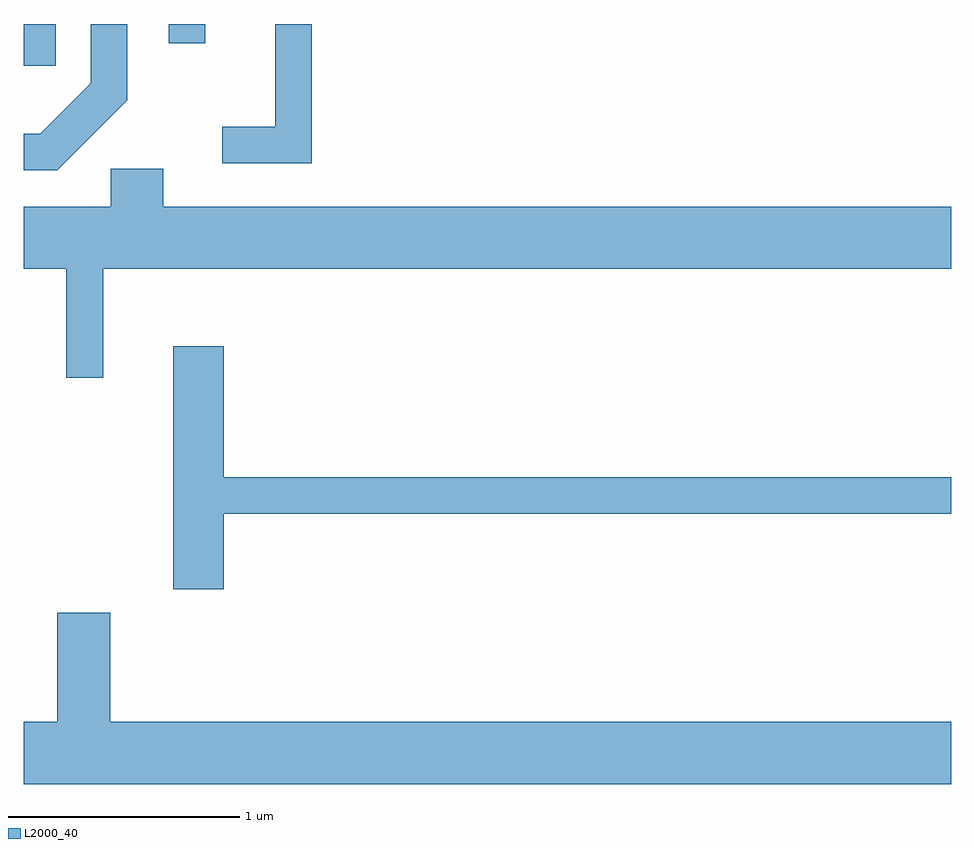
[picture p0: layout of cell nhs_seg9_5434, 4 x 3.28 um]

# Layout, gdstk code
import gdstk
lib = gdstk.Library(unit=1e-6, precision=1e-09)
def R(c, l, rs):  # rectangles x0, y0, x1, y1
    for r in rs: c.add(gdstk.rectangle(r[:2], r[2:], *l))
def P(c, l, *ps):  # polygons
    for p in ps: c.add(gdstk.Polygon(p, *l))
L2000_40 = (2000, 40)

nhs_seg9_5434 = lib.new_cell('nhs_seg9_5434')
R(nhs_seg9_5434, L2000_40, [(345.611,1988.251,345.749,1988.432), (346.236,1988.348,346.394,1988.432)])
P(nhs_seg9_5434, L2000_40, [(346.854,1988.432),(346.696,1988.432),(346.696,1987.989),(346.468,1987.989),(346.468,1987.831),(346.854,1987.831)],
  [(346.059,1988.104),(346.059,1988.432),(345.901,1988.432),(345.901,1988.177),(345.684,1987.959),(345.611,1987.959),(345.611,1987.801),(345.757,1987.801)],
  [(345.954,1987.376),(349.611,1987.376),(349.611,1987.644),(346.214,1987.644),(346.214,1987.809),(345.986,1987.809),(345.986,1987.644),(345.611,1987.644),(345.611,1987.376),(345.796,1987.376),(345.796,1986.908),(345.954,1986.908)],
  [(346.474,1986.321),(349.611,1986.321),(349.611,1986.479),(346.474,1986.479),(346.474,1987.044),(346.256,1987.044),(346.256,1985.996),(346.474,1985.996)],
  [(349.611,1985.424),(345.984,1985.424),(345.984,1985.894),(345.756,1985.894),(345.756,1985.424),(345.611,1985.424),(345.611,1985.156),(349.611,1985.156)])

lib.write_gds('nhs_seg9_5434.gds')
